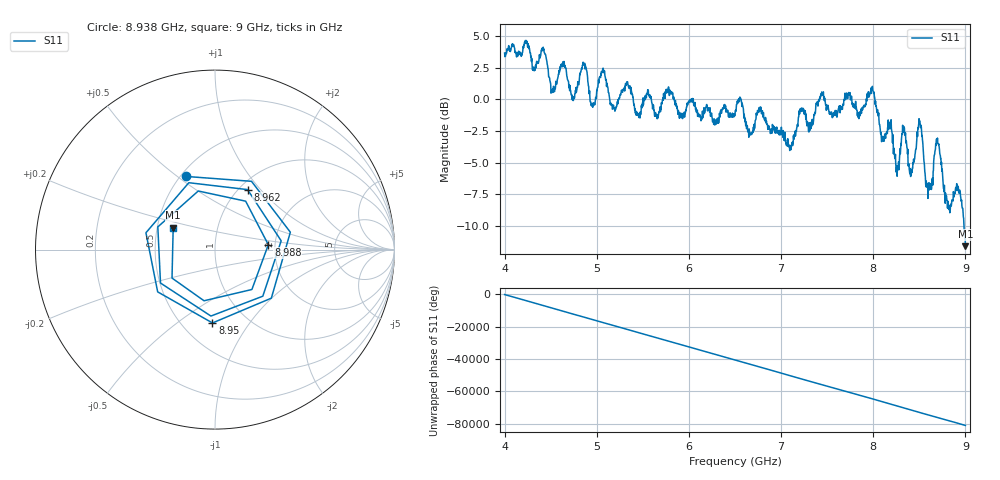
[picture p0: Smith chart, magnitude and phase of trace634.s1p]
! Created with skrf 1.8.0 (http://scikit-rf.org).
# Hz S RI R 50.0
!freq ReS11 ImS11
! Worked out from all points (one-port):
!   1601 points, 4 GHz to 9 GHz, reference 50 ohm
!   lowest |S11| = -11.6 dB at 9 GHz (marker M1), VSWR 1.71, Z = 30.3 + j8 ohm
!   |S11| at or under -10 dB: 8.984573 GHz to end of sweep
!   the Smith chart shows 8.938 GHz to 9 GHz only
!   S11 on the Smith chart (normalised r, x): 8.938 GHz: 0.53, +0.54; 8.95 GHz: 0.70, -0.68; 8.962 GHz: 1.09, +0.86; 8.988 GHz: 1.84, +0.11; 9 GHz: 0.61, +0.16
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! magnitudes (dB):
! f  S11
! 4 GHz  3.6
! 4.422 GHz  3.9
! 4.528 GHz  0.6
! 4.625 GHz  2.6
! 4.741 GHz  0.1
! 4.859 GHz  2.7
! 4.953 GHz  -0.5
! 5.059 GHz  2.2
! 5.25 GHz  0.2
! 5.875 GHz  -0.8
! 6.5 GHz  -1.1
! 7.125 GHz  -3.7
! 7.219 GHz  -0.7
! 7.75 GHz  0.2
! 7.991 GHz  1.0
! 8.256 GHz  -5.2
! 8.325 GHz  -2.4
! 8.375 GHz  -3.9
! 8.419 GHz  -5.5
! 8.503 GHz  -1.7
! 8.594 GHz  -7.8
! 8.694 GHz  -3.5
! 8.812 GHz  -8.5
! 8.938 GHz  -7.2
! 8.95 GHz  -7.8
! 8.962 GHz  -8.4
! 8.988 GHz  -10.5
! 9 GHz  -11.6
